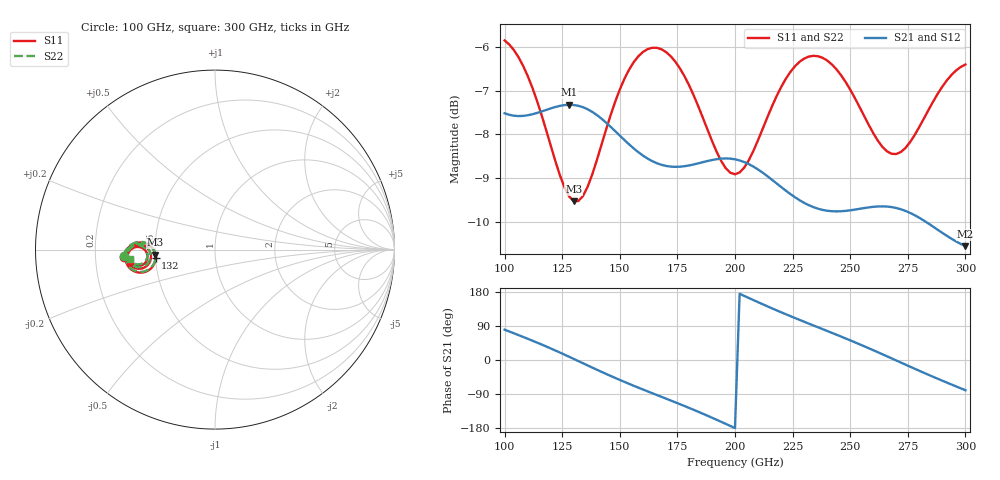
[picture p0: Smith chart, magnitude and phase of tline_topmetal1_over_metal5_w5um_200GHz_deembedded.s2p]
! Created with skrf 2.0.1 (http://scikit-rf.org).
# GHz S DB R 50.0
!freq dBS11 angS11 dBS21 angS21 dBS12 angS12 dBS22 angS22
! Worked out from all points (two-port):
!   101 points, 100 GHz to 300 GHz, reference 50 ohm
!   highest |S21| = -7.32 dB at 128 GHz (marker M1); lowest = -10.6 dB at 300 GHz (marker M2)
!   |S21| within 3 dB of the highest: start of sweep to 291.7 GHz
!   lowest |S11| = -9.5 dB at 130 GHz (marker M3), VSWR 2.00, Z = 25 - j1.54 ohm
!   |S11| at or under -10 dB: nowhere
!   |S22| runs from -9.5 to -5.8 dB; largest |S21 - S12| = 4.3e-14
!   S11 on the Smith chart (normalised r, x): 100 GHz: 0.32, -0.04; 132 GHz: 0.50, -0.05; 300 GHz: 0.35, -0.06
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100  -5.84 -175.4  -7.51 80.0  -7.51 80.0  -5.84 -175.9
114  -7.22 175.0  -7.51 46.1  -7.51 46.1  -7.22 174.5
128  -9.42 -178.1  -7.32 8.5  -7.32 8.5  -9.43 -178.6
130  -9.53 -175.3  -7.32 2.9  -7.32 2.9  -9.53 -175.8
132  -9.53 -172.4  -7.34 -2.8  -7.34 -2.8  -9.53 -172.9
134  -9.42 -169.6  -7.38 -8.5  -7.38 -8.5  -9.42 -170.1
142  -8.25 -162.7  -7.64 -31.1  -7.64 -31.1  -8.25 -163.3
150  -6.97 -163.5  -8.03 -52.6  -8.03 -52.6  -6.97 -164.1
158  -6.21 -168.4  -8.41 -72.8  -8.41 -72.8  -6.21 -169.0
168  -6.04 -175.9  -8.70 -97.0  -8.70 -97.0  -6.04 -176.5
184  -7.35 176.2  -8.66 -136.5  -8.66 -136.5  -7.32 175.6
192  -8.40 178.2  -8.57 -157.6  -8.57 -157.6  -8.36 177.5
200  -8.91 -174.5  -8.57 -179.7  -8.57 -179.7  -8.87 -175.4
208  -8.38 -167.4  -8.74 158.1  -8.74 158.1  -8.34 -168.5
218  -7.13 -166.0  -9.12 131.3  -9.12 131.3  -7.11 -167.1
234  -6.20 -174.0  -9.67 91.3  -9.67 91.3  -6.19 -175.2
250  -6.97 178.4  -9.74 51.9  -9.74 51.9  -6.98 177.2
260  -7.97 179.2  -9.66 25.9  -9.66 25.9  -7.99 178.0
268  -8.45 -175.7  -9.67 4.2  -9.67 4.2  -8.47 -177.0
276  -8.18 -170.0  -9.80 -17.6  -9.80 -17.6  -8.20 -171.2
284  -7.44 -167.7  -10.05 -39.1  -10.05 -39.1  -7.45 -168.9
300  -6.40 -172.5  -10.57 -79.7  -10.57 -79.7  -6.40 -173.7
